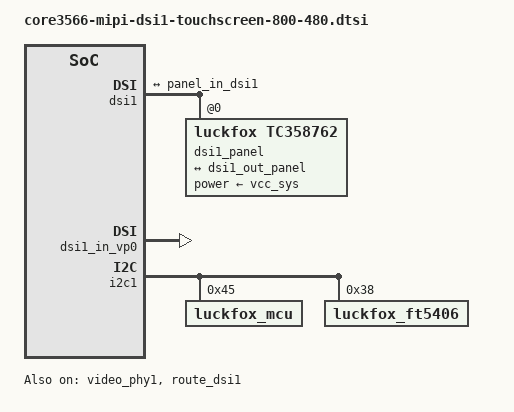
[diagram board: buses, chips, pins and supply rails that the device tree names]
// SPDX-License-Identifier: (GPL-2.0+ OR MIT)
/*
 * Copyright (c) 2023 luckfox technology Limited.
 */
&video_phy1 {
    status = "okay";
};

&dsi1 {
	status = "okay";
	
	power-supply = <&vcc_sys>;

	dsi1_panel: dsi-panel@0 {
		compatible = "luckfox,tc358762";
		reg = <0x0>;
		status = "okay";
		power-supply = <&vcc_sys>;

		ports {			
			#address-cells = <1>;
			#size-cells = <0>;

			port@0 {
				reg = <0>;

				panel_in_dsi1: endpoint {
					remote-endpoint = <&dsi1_out_panel>;
				};
			};
		};
	};

	ports {
		#address-cells = <1>;
		#size-cells = <0>;

		port@1 {
			reg = <1>;
			#address-cells = <1>;
			#size-cells = <0>;

			dsi1_out_panel: endpoint@0 {
				reg = <0>;
				remote-endpoint = <&panel_in_dsi1>;
			};
		};
	};
};

&dsi1_in_vp0 {
	status = "okay";
};

&dsi1_in_vp1 {
	status = "disabled";
};

&route_dsi1 {
	status = "okay";
	connect = <&vp0_out_dsi1>;
};

// &i2c4 {
// 	status = "okay";
// 	pinctrl-0 = <&i2c4m0_xfer>;

// 	luckfox_mcu: luckfox_mcu@45 {
// 		compatible = "luckfox_mcu";
// 		reg = <0x45>;
// 		status = "okay";
// 	};

// 	luckfox_ft5406: luckfox_ft5406@38 {
// 		compatible = "luckfox_ft5406";
// 		reg = <0x38>;
// 		status = "okay";
// 	};
// };

&i2c1 {
	status = "okay";
	// pinctrl-0 = <&i2c4m0_xfer>;

	luckfox_mcu: luckfox_mcu@45 {
		compatible = "luckfox_mcu";
		reg = <0x45>;
		status = "okay";
	};

	luckfox_ft5406: luckfox_ft5406@38 {
		compatible = "luckfox_ft5406";
		reg = <0x38>;
		status = "okay";
	};
};
